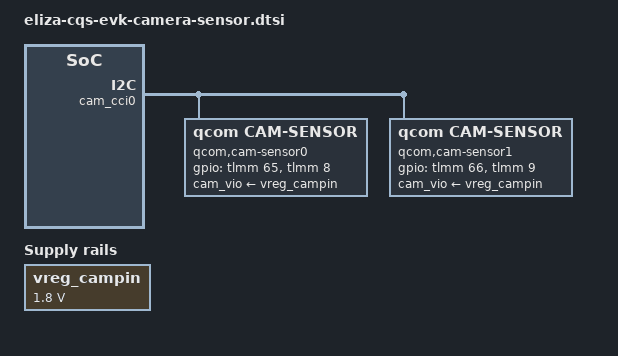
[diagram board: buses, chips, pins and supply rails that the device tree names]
// SPDX-License-Identifier: BSD-3-Clause
/*
 * Copyright (c) Qualcomm Technologies, Inc. and/or its subsidiaries.
 */

#include <dt-bindings/camera/msm-camera.h>
#include <dt-bindings/clock/qcom,eliza-camcc.h>

/ {
	vreg_campin: regulator-campin {
		compatible = "regulator-fixed";
		regulator-name = "vreg_campin";
		regulator-min-microvolt = <1800000>;
		regulator-max-microvolt = <1800000>;
	};
};

&cam_cci0 {
	qcom,cam-sensor0 {
		compatible = "qcom,cam-sensor";
		cell-index = <5>;
		csiphy-sd-index = <0>;
		sensor-position-roll = <0>;
		sensor-position-pitch = <0>;
		sensor-position-yaw = <180>;
		power-domains = <&camcc CAM_CC_TITAN_TOP_GDSC>;
		cam_vio-supply = <&vreg_campin>;
		regulator-names = "cam_vio";
		rgltr-cntrl-support;
		rgltr-min-voltage = <1800000>;
		rgltr-max-voltage = <1800000>;
		rgltr-load-current = <120000>;
		gpio-no-mux = <0>;
		pinctrl-names = "cam_default", "cam_suspend";
		pinctrl-0 = <&cam_mclk0_default &cam_sensor_active_rst0>;
		pinctrl-1 = <&cam_sensor_mclk0_suspend &cam_sensor_suspend_rst0>;
		gpios = <&tlmm 65 0>,
			<&tlmm 8 0>;
		gpio-reset = <1>;
		gpio-req-tbl-num = <0 1>;
		gpio-req-tbl-flags = <1 0>;
		gpio-req-tbl-label = "CAMIF_MCLK0", "CAM_RESET0";
		cci-master = <CCI_MASTER_0>;
		clocks = <&cambistmclkcc CAM_BIST_MCLK_CC_MCLK0_CLK>;
		clock-names = "cam_clk";
		clock-cntl-level = "nominal";
		clock-rates = <24000000>;
		status = "okay";
	};

	qcom,cam-sensor1 {
		compatible = "qcom,cam-sensor";
		cell-index = <1>;
		csiphy-sd-index = <1>;
		sensor-position-roll = <180>;
		sensor-position-pitch = <0>;
		sensor-position-yaw = <180>;
		power-domains = <&camcc CAM_CC_TITAN_TOP_GDSC>;
		cam_vio-supply = <&vreg_campin>;
		regulator-names = "cam_vio";
		rgltr-cntrl-support;
		rgltr-min-voltage = <1800000>;
		rgltr-max-voltage = <1800000>;
		rgltr-load-current = <120000>;
		gpio-no-mux = <0>;
		pinctrl-names = "cam_default", "cam_suspend";
		pinctrl-0 = <&cam_mclk1_default &cam_sensor_active_rst1>;
		pinctrl-1 = <&cam_sensor_mclk1_suspend &cam_sensor_suspend_rst1>;
		gpios = <&tlmm 66 0>,
			<&tlmm 9 0>;
		gpio-reset = <1>;
		gpio-req-tbl-num = <0 1>;
		gpio-req-tbl-flags = <1 0>;
		gpio-req-tbl-label = "CAMIF_MCLK1", "CAM_RESET1";
		cci-master = <CCI_MASTER_1>;
		clocks = <&cambistmclkcc CAM_BIST_MCLK_CC_MCLK1_CLK>;
		clock-names = "cam_clk";
		clock-cntl-level = "nominal";
		clock-rates = <24000000>;
		status = "okay";
	};
};

&soc {
	qcom,cam-res-mgr {
		compatible = "qcom,cam-res-mgr";
		status = "okay";
	};
};

&tlmm {
	cam_sensor_active_rst0: cam-sensor-active-rst0-state {
		pins = "gpio8";
		function = "gpio";
		drive-strength = <2>;
		bias-disable;
	};

	cam_sensor_active_rst1: cam-sensor-active-rst1-state {
		pins = "gpio9";
		function = "gpio";
		drive-strength = <2>;
		bias-disable;
	};

	cam_sensor_suspend_rst0: cam-sensor-suspend-rst0-state {
		pins = "gpio8";
		function = "gpio";
		drive-strength = <2>;
		bias-pull-down;
		output-low;
	};

	cam_sensor_suspend_rst1: cam-sensor-suspend-rst1-state {
		pins = "gpio9";
		function = "gpio";
		drive-strength = <2>;
		bias-pull-down;
		output-low;
	};
};
